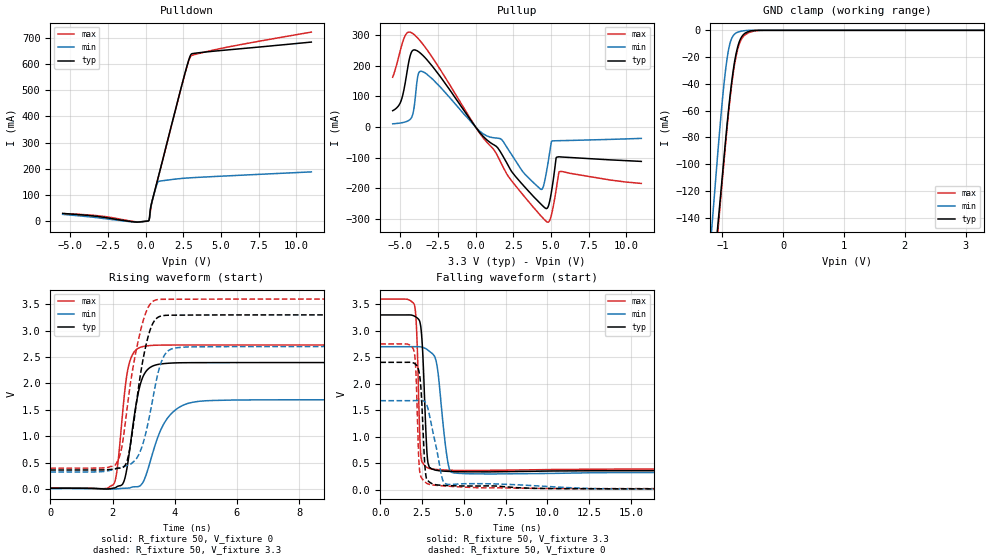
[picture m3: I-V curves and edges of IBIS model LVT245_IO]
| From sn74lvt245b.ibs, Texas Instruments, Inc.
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[Model]   LVT245_IO
Model_type  3-state
Enable   Active-Low
Vref =   0
Rref =   500
Cref =   50p
Vmeas =   1.5
| variable   typ   min   max
C_comp   6.74pF   5.52pF   8.57pF
| C_pullup   6.54pF   1.88pF   13.78pF
| C_pulldown   9.64pF   1.71pF   28.43pF
| C_tri-state   6.74pF   5.52pF   8.57pF
[Temperature Range]   40   -40   100
| Ambient temperature   25   -40   85
[Voltage range]   3.3   2.7   3.6
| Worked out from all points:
|   slope of the pulldown table from 0 to 0.495 V, typ, clamps not added: 5.43 ohm
|   slope of the pullup table from 0 to 0.495 V, typ, clamps not added: 16.4 ohm
|   GND clamp passes 1 mA (typ) near -0.58 V on its own axis
|   rising waveform, R_fixture 50, V_fixture 0: 20-80 % time 374ps typ, 659ps min, 282ps max; typ from 0.014 V to 2.4 V
|   falling waveform, R_fixture 50, V_fixture 3.3: 20-80 % time 233ps typ, 465ps min, 181ps max; typ from 3.3 V to 0.359 V
|   rising waveform, R_fixture 50, V_fixture 3.3: 20-80 % time 464ps typ, 529ps min, 522ps max; typ from 0.36 V to 3.3 V
|   falling waveform, R_fixture 50, V_fixture 0: 20-80 % time 230ps typ, 632ps min, 172ps max; typ from 2.4 V to 0.014 V
[GND Clamp]
| LVT245_IO
|   Voltage   I(typ)   I(min)   I(max)
-5.5V     -3.252A    -3.434A    -3.307A
-1.17V    -193mA     -144.7mA   -203.1mA
-1.075V   -145.4mA   -90.74mA   -150.3mA
-1.05V    -132.9mA   -77.24mA   -137.1mA
-975mV    -95.41mA   -40.28mA   -98.43mA
-925mV    -70.83mA   -21.45mA   -73.44mA
-875mV    -48.88mA   -9.495mA   -51.21mA
-800mV    -23.27mA   -2.779mA   -25.25mA
-750mV    -12.49mA   -1.408mA   -14.27mA
-625mV    -2.053mA   -189.6uA   -3.268mA
-330mV    -599.6nA   -371.2pA   -16.77uA
3.3V      75.95pA    85.89pA    4.654nA
[Pulldown]
| LVT245_IO
|   Voltage   I(typ)   I(min)   I(max)
-5.5V     29.72mA    26.17mA    28.96mA
-2.985V   16.55mA    11.81mA    19.77mA
-765mV    -2.483mA   -3.444mA   -1.413mA
215mV     2.534mA    2.583mA    3.704mA
270mV     18.68mA    21.69mA    14.09mA
320mV     45.46mA    46.72mA    37.41mA
390mV     66.79mA    66.76mA    62.8mA
840mV     167.4mA    150.7mA    166.4mA
2.61V     563.1mA    164mA      561.4mA
2.89V     619mA      165.1mA    615.5mA
3.05V     637.6mA    165.7mA    631.4mA
11V       682.8mA    188mA      720.9mA
[Pullup]
| LVT245_IO
|   Voltage   I(typ)   I(min)   I(max)
-5.5V     53.48mA    10.54mA    163mA
-4.91V    90.69mA    13.86mA    266mA
-4.245V   246.2mA    31.5mA     308.4mA
-3.84V    248.5mA    165.2mA    291.3mA
-3.245V   221.2mA    173.4mA    254.5mA
1.72V     -87.14mA   -40.56mA   -120.4mA
4.31V     -251mA     -203.4mA   -289.5mA
4.76V     -265.7mA   -131.6mA   -311.2mA
5.035V    -212.4mA   -48mA      -287.9mA
5.385V    -98.77mA   -44.89mA   -193.6mA
5.64V     -97.88mA   -44.58mA   -145.4mA
11V       -112.6mA   -37.21mA   -184.7mA
[Ramp]
| LVT245_IO
| variable   typ   min   max
dV/dt_r   1.44/3.82E-10   1.02/6.67E-10   1.63/2.87E-10
dV/dt_f   1.78/2.38E-10   1.44/4.75E-10   1.94/1.85E-10
R_load = 50
[Rising Waveform]
| LVT245_IO
R_fixture =   50
C_fixture =   0
L_fixture =   0
V_fixture =   0
V_fixture_min = 0
V_fixture_max = 0
|   Time   V(typ)   V(min)   V(max)
0s        14.37mV    8.698mV    18.57mV
2.035ns   16.35mV    -803.5uV   89mV
2.16ns    48.54mV    3.566mV    421.4mV
2.355ns   126.1mV    12.96mV    1.627V
2.53ns    648.3mV    17.77mV    2.365V
2.85ns    1.881V     49.96mV    2.674V
3.17ns    2.287V     435mV      2.717V
3.84ns    2.385V     1.395V     2.728V
5.015ns   2.395V     1.673V     2.729V
45ns      2.395V     1.69V      2.729V
[Falling Waveform]
| LVT245_IO
R_fixture =   50
C_fixture =   0
L_fixture =   0
V_fixture =   3.3
V_fixture_min = 2.7
V_fixture_max = 3.6
|   Time   V(typ)   V(min)   V(max)
0s        3.3V       2.7V       3.6V
2.045ns   3.278V     2.701V     3.492V
2.185ns   3.249V     2.702V     2.937V
2.355ns   3.186V     2.699V     1.117V
2.525ns   2.68V      2.689V     514.1mV
2.8ns     673.3mV    2.648V     417.9mV
2.99ns    413.1mV    2.6V       396.3mV
3.37ns    364.3mV    2.386V     380mV
4.385ns   341.3mV    316.9mV    364.4mV
45ns      358.6mV    322.1mV    392.6mV
[Rising Waveform]
| LVT245_IO
R_fixture =   50
C_fixture =   0
L_fixture =   0
V_fixture =   3.3
V_fixture_min = 2.7
V_fixture_max = 3.6
|   Time   V(typ)   V(min)   V(max)
0s        359.7mV    322.3mV    394.5mV
2.05ns    377.6mV    370.9mV    436mV
2.4ns     443.1mV    432.8mV    1.201V
2.565ns   795.6mV    464.8mV    1.953V
2.94ns    2.32V      789.1mV    3.09V
3.205ns   3.006V     1.429V     3.5V
3.475ns   3.259V     2.225V     3.592V
3.795ns   3.293V     2.623V     3.596V
4.515ns   3.297V     2.694V     3.598V
45ns      3.3V       2.7V       3.6V
[Falling Waveform]
| LVT245_IO
R_fixture =   50
C_fixture =   0
L_fixture =   0
V_fixture =   0
V_fixture_min = 0
V_fixture_max = 0
|   Time   V(typ)   V(min)   V(max)
0s        2.405V     1.68V      2.752V
1.99ns    2.393V     1.681V     2.648V
2.12ns    2.367V     1.682V     2.312V
2.29ns    2.265V     1.685V     690.8mV
2.365ns   2.142V     1.685V     330.6mV
2.695ns   358.9mV    1.652V     139.4mV
3ns       130.3mV    1.321V     94.79mV
3.705ns   81.02mV    215.8mV    72.76mV
4.08ns    75.88mV    98.13mV    64.69mV
45ns      14.3mV     8.605mV    18.63mV
